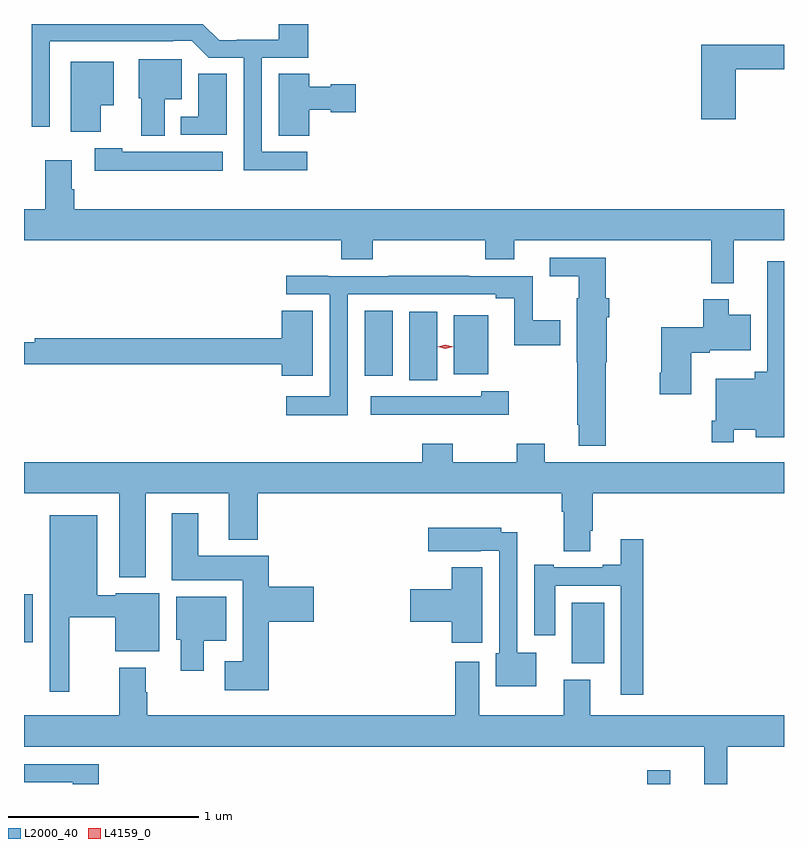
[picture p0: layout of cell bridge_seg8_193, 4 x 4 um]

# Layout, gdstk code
import gdstk
lib = gdstk.Library(unit=1e-6, precision=1e-09)
def R(c, l, rs):  # rectangles x0, y0, x1, y1
    for r in rs: c.add(gdstk.rectangle(r[:2], r[2:], *l))
def P(c, l, *ps):  # polygons
    for p in ps: c.add(gdstk.Polygon(p, *l))
L2000_40 = (2000, 40)
L4159_0 = (4159, 0)

bridge_seg8_193 = lib.new_cell('bridge_seg8_193')
R(bridge_seg8_193, L2000_40, [(257.4,1106.979,257.521,1107.052), (257.003,1107.614,257.173,1107.934), (254.12,1107.725,254.167,1107.979), (256.148,1109.104,256.294,1109.464), (255.914,1109.127,256.06,1109.471), (256.382,1109.135,256.564,1109.446)])
P(bridge_seg8_193, L2000_40, [(255.61,1110.306),(255.372,1110.306),(255.372,1110.801),(255.617,1110.801),(255.617,1110.979),(255.461,1110.979),(255.461,1110.897),(255.241,1110.897),(255.241,1110.894),(255.147,1110.894),(255.062,1110.979),(254.16,1110.979),(254.16,1110.438),(254.256,1110.438),(254.256,1110.888),(254.906,1110.888),(254.906,1110.891),(255.002,1110.891),(255.092,1110.801),(255.276,1110.801),(255.276,1110.209),(255.61,1110.209)],
  [(257.867,1110.742),(258.12,1110.742),(258.12,1110.871),(257.684,1110.871),(257.684,1110.477),(257.867,1110.477)],
  [(254.86,1110.584),(254.95,1110.584),(254.95,1110.793),(254.723,1110.793),(254.723,1110.588),(254.738,1110.588),(254.738,1110.392),(254.86,1110.392)],
  [(254.524,1110.551),(254.593,1110.551),(254.593,1110.781),(254.366,1110.781),(254.366,1110.411),(254.524,1110.411)],
  [(255.622,1110.527),(255.735,1110.527),(255.735,1110.515),(255.865,1110.515),(255.865,1110.662),(255.735,1110.662),(255.735,1110.649),(255.622,1110.649),(255.622,1110.716),(255.461,1110.716),(255.461,1110.391),(255.622,1110.391)],
  [(255.187,1110.716),(255.038,1110.716),(255.038,1110.492),(254.945,1110.492),(254.945,1110.396),(255.187,1110.396)],
  [(255.166,1110.307),(254.637,1110.307),(254.637,1110.325),(254.493,1110.325),(254.493,1110.206),(255.166,1110.206)],
  [(257.855,1109.84),(258.12,1109.84),(258.12,1110.004),(254.384,1110.004),(254.384,1110.11),(254.371,1110.11),(254.371,1110.262),(254.231,1110.262),(254.231,1110.004),(254.12,1110.004),(254.12,1109.84),(255.791,1109.84),(255.791,1109.741),(255.956,1109.741),(255.956,1109.84),(256.547,1109.84),(256.547,1109.741),(256.699,1109.741),(256.699,1109.84),(257.737,1109.84),(257.737,1109.615),(257.855,1109.615)],
  [(257.183,1109.199),(257.188,1109.199),(257.188,1109.435),(257.201,1109.435),(257.201,1109.535),(257.183,1109.535),(257.183,1109.748),(256.887,1109.748),(256.887,1109.652),(257.039,1109.652),(257.039,1109.535),(257.03,1109.535),(257.03,1109.199),(257.032,1109.199),(257.032,1108.87),(257.039,1108.87),(257.039,1108.758),(257.183,1108.758)],
  [(257.856,1108.844),(257.972,1108.844),(257.972,1108.805),(258.12,1108.805),(258.12,1109.731),(258.033,1109.731),(258.033,1109.149),(257.965,1109.149),(257.965,1109.113),(257.76,1109.113),(257.76,1108.891),(257.74,1108.891),(257.74,1108.779),(257.856,1108.779)],
  [(255.825,1109.556),(256.604,1109.556),(256.604,1109.536),(256.7,1109.536),(256.7,1109.288),(256.942,1109.288),(256.942,1109.419),(256.797,1109.419),(256.797,1109.652),(256.463,1109.652),(256.463,1109.654),(256.039,1109.654),(256.039,1109.652),(255.722,1109.652),(255.722,1109.654),(255.501,1109.654),(255.501,1109.556),(255.729,1109.556),(255.729,1109.019),(255.501,1109.019),(255.501,1108.921),(255.825,1108.921)],
  [(257.632,1109.249),(257.728,1109.249),(257.728,1109.261),(257.944,1109.261),(257.944,1109.449),(257.83,1109.449),(257.83,1109.53),(257.696,1109.53),(257.696,1109.383),(257.474,1109.383),(257.474,1109.143),(257.467,1109.143),(257.467,1109.031),(257.632,1109.031)],
  [(255.64,1109.471),(255.476,1109.471),(255.476,1109.324),(254.176,1109.324),(254.176,1109.304),(254.12,1109.304),(254.12,1109.188),(255.476,1109.188),(255.476,1109.127),(255.64,1109.127)],
  [(256.672,1109.047),(256.527,1109.047),(256.527,1109.019),(255.945,1109.019),(255.945,1108.922),(256.672,1108.922)],
  [(254.12,1108.508),(254.621,1108.508),(254.621,1108.067),(254.761,1108.067),(254.761,1108.508),(255.197,1108.508),(255.197,1108.265),(255.35,1108.265),(255.35,1108.508),(256.949,1108.508),(256.949,1108.412),(256.961,1108.412),(256.961,1108.204),(257.101,1108.204),(257.101,1108.312),(257.114,1108.312),(257.114,1108.508),(258.12,1108.508),(258.12,1108.672),(256.861,1108.672),(256.861,1108.771),(256.714,1108.771),(256.714,1108.672),(256.377,1108.672),(256.377,1108.771),(256.217,1108.771),(256.217,1108.672),(254.12,1108.672)],
  [(255.407,1107.833),(255.646,1107.833),(255.646,1108.016),(255.407,1108.016),(255.407,1108.18),(255.037,1108.18),(255.037,1108.405),(254.897,1108.405),(254.897,1108.052),(255.272,1108.052),(255.272,1107.625),(255.177,1107.625),(255.177,1107.473),(255.407,1107.473)],
  [(254.359,1107.856),(254.6,1107.856),(254.6,1107.677),(254.833,1107.677),(254.833,1107.982),(254.604,1107.982),(254.604,1107.972),(254.506,1107.972),(254.506,1108.393),(254.255,1108.393),(254.255,1107.465),(254.359,1107.465)],
  [(256.816,1107.67),(256.716,1107.67),(256.716,1108.304),(256.632,1108.304),(256.632,1108.327),(256.248,1108.327),(256.248,1108.205),(256.523,1108.205),(256.523,1108.206),(256.62,1108.206),(256.62,1107.666),(256.604,1107.666),(256.604,1107.494),(256.816,1107.494)],
  [(257.378,1108.267),(257.261,1108.267),(257.261,1108.132),(257.165,1108.132),(257.165,1108.119),(256.909,1108.119),(256.909,1108.132),(256.805,1108.132),(256.805,1107.762),(256.915,1107.762),(256.915,1108.023),(257.262,1108.023),(257.262,1107.45),(257.378,1107.45)],
  [(256.531,1108.12),(256.37,1108.12),(256.37,1108.003),(256.152,1108.003),(256.152,1107.833),(256.37,1107.833),(256.37,1107.723),(256.531,1107.723)],
  [(255.067,1107.734),(255.184,1107.734),(255.184,1107.964),(254.921,1107.964),(254.921,1107.738),(254.945,1107.738),(254.945,1107.576),(255.067,1107.576)],
  [(257.821,1107.176),(258.12,1107.176),(258.12,1107.34),(257.101,1107.34),(257.101,1107.529),(256.961,1107.529),(256.961,1107.34),(256.516,1107.34),(256.516,1107.622),(256.391,1107.622),(256.391,1107.34),(254.769,1107.34),(254.769,1107.461),(254.761,1107.461),(254.761,1107.592),(254.621,1107.592),(254.621,1107.34),(254.12,1107.34),(254.12,1107.176),(257.699,1107.176),(257.699,1106.979),(257.821,1106.979)],
  [(254.513,1107.084),(254.12,1107.084),(254.12,1106.988),(254.377,1106.988),(254.377,1106.979),(254.513,1106.979)])
P(bridge_seg8_193, L4159_0, [(256.338,1109.271),(256.297,1109.281),(256.297,1109.281),(256.297,1109.281),(256.338,1109.291),(256.378,1109.281),(256.378,1109.281),(256.378,1109.281)])

lib.write_gds('bridge_seg8_193.gds')
